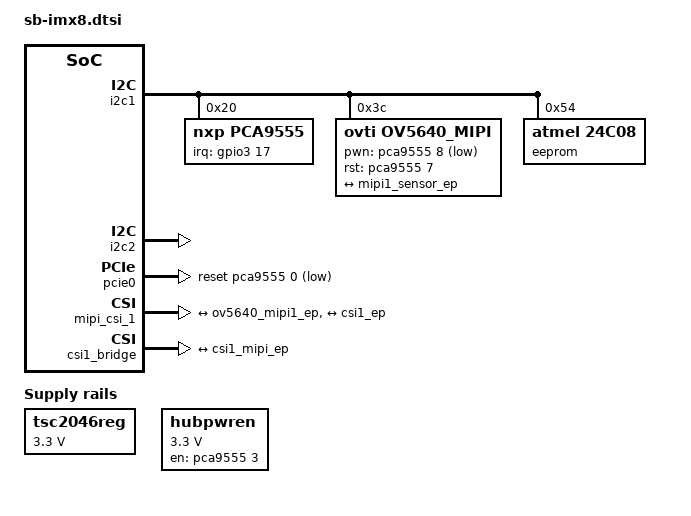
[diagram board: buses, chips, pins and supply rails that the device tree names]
/*
 * Copyright (C) 2018 CopuLab Ltd.
 *
 * This program is free software; you can redistribute it and/or
 * modify it under the terms of the GNU General Public License
 * as published by the Free Software Foundation; either version 2
 * of the License, or (at your option) any later version.
 *
 * This program is distributed in the hope that it will be useful,
 * but WITHOUT ANY WARRANTY; without even the implied warranty of
 * MERCHANTABILITY or FITNESS FOR A PARTICULAR PURPOSE.  See the
 * GNU General Public License for more details.
 */

/ {
	regulators {
		compatible = "simple-bus";
		#address-cells = <1>;
		#size-cells = <0>;

		tsc2046reg: tsc2046-reg {
			compatible = "regulator-fixed";
			regulator-name = "tsc2046-reg";
			regulator-min-microvolt = <3300000>;
			regulator-max-microvolt = <3300000>;
		};

		hubpwren: hub-pwren {
			compatible = "regulator-fixed";
			regulator-name = "hub_pwren";
			regulator-min-microvolt = <3300000>;
			regulator-max-microvolt = <3300000>;
			gpio = <&pca9555 3 GPIO_ACTIVE_HIGH>;
			regulator-boot-on;
			regulator-always-on;
			enable-active-high;
		};
	};
};

&iomuxc {
	sb-imx8 {
		pinctrl_pca95xx: pca95xx {
			fsl,pins = <
				MX8MQ_IOMUXC_NAND_WE_B_GPIO3_IO17	0xC0
			>;
		};
		pinctrl_uart1_rs485_hdx: uart1rs485hdxgrp {
			fsl,pins = <
				MX8MQ_IOMUXC_UART1_RXD_UART1_DCE_RX	0x79
				MX8MQ_IOMUXC_UART1_TXD_UART1_DCE_TX	0x79
			>;
		};
		/*
		Copy & Paste from an MXP evk
		As of now an external OSC1 25MHz is in use
		Left as an example for the next revision
		*/
		pinctrl_csi1: csi1grp {
		    fsl,pins = <
			MX8MQ_IOMUXC_GPIO1_IO15_CCMSRCGPCMIX_CLKO2	0x59
		    >;
		};
		touchscreen_pins: touchscreen-pins {
			fsl,pins = <
				MX8MQ_IOMUXC_NAND_CE3_B_GPIO3_IO4 0x17059 /* P21.34 IRQ */
				MX8MQ_IOMUXC_NAND_CE2_B_GPIO3_IO3 0x17059 /* P21.32 RST */
			>;
		};
	};
};

&ecspi3 {
	fsl,spi-num-chipselects = <1>;
	cs-gpios = <&gpio5 25 0>;
	status = "disabled";

	touch:	tsc2046@0 {
		compatible = "ti,tsc2046";
		vcc-supply = <&tsc2046reg>;

		reg = <0>;
		spi-max-frequency = <1500000>;

		interrupt-parent = <&pca9555>;
		interrupts = <2 0>;
		pendown-gpio = <&pca9555 2 0>;

		ti,x-min = /bits/ 16 <0x0>;
		ti,x-max = /bits/ 16 <0x0fff>;
		ti,y-min = /bits/ 16 <0x0>;
		ti,y-max = /bits/ 16 <0x0fff>;

		ti,x-plate-ohms = /bits/ 16 <180>;
		ti,pressure-max = /bits/ 16 <255>;

		ti,debounce-max = /bits/ 16 <30>;
		ti,debounce-tol = /bits/ 16 <10>;
		ti,debounce-rep = /bits/ 16 <1>;

		linux,wakeup;
	};
};

&i2c1 {
	status = "okay";

	pca9555:pca9555@20 {
		pinctrl-names = "default";
		pinctrl-0 = <&pinctrl_pca95xx>;
		compatible = "nxp,pca9555";
		/* Role #0 */
		gpio-controller;
		#gpio-cells = <2>;
		/* Role #1 */
		interrupt-parent = <&gpio3>;
		interrupts = <17 0x1>;
		interrupt-controller;
		#interrupt-cells = <2>;
		/* Bus address */
		reg = <0x20>;
	};

	ov5640_mipi: ov5640_mipi@3c {
		compatible = "ovti,ov5640_mipi";
		reg = <0x3c>;
		status = "okay";
		pinctrl-names = "default";
		pinctrl-0 = <&pinctrl_csi1>;
		clocks = <&clk IMX8MQ_CLK_CLKO2>;
		clock-names = "csi_mclk";
		assigned-clocks = <&clk IMX8MQ_CLK_CLKO2>;
		assigned-clock-parents = <&clk IMX8MQ_SYS2_PLL_200M>;
		assigned-clock-rates = <25000000>;
		csi_id = <0>;
		/*
		To be looked into & fixed
		As of now the device is alwas out of reset & under the power
		*/
		pwn-gpios = <&pca9555 8 GPIO_ACTIVE_LOW>;
		rst-gpios = <&pca9555 7 GPIO_ACTIVE_HIGH>;
		mclk = <25000000>;
		mclk_source = <0>;
		port {
		    ov5640_mipi1_ep: endpoint {
			remote-endpoint = <&mipi1_sensor_ep>;
		    };
		};
	};

	eeprom@54 {
		compatible = "atmel,24c08";
		reg = <0x54>;
		pagesize = <16>;
	};
};

sbc_i2c_lvds: &i2c2 {
	status = "okay";
};

&pcie0 {
	reset-gpio = <&pca9555 0 GPIO_ACTIVE_LOW>;
	status = "okay";
};

&uart1 { /* rs-485 */
	pinctrl-names = "default";
	pinctrl-0 = <&pinctrl_uart1_rs485_hdx>;
	assigned-clocks = <&clk IMX8MQ_CLK_UART1>;
	assigned-clock-parents = <&clk IMX8MQ_CLK_25M>;
	linux,rs485-enabled-at-boot-time;
	rs485-rts-active-high;
	rts-gpio = <&pca9555 6 0>;
	status = "disabled";
};

&mipi_csi_1 {
    #address-cells = <1>;
    #size-cells = <0>;
    status = "okay";
    port {
        mipi1_sensor_ep: endpoint@0 {
            remote-endpoint = <&ov5640_mipi1_ep>;
            data-lanes = <1 2>;
        };

        csi1_mipi_ep: endpoint@1 {
            remote-endpoint = <&csi1_ep>;
        };
    };
};

&csi1_bridge {
    fsl,mipi-mode;
    fsl,two-8bit-sensor-mode;
    status = "okay";

    port {
        csi1_ep: endpoint {
            remote-endpoint = <&csi1_mipi_ep>;
        };
    };
};
